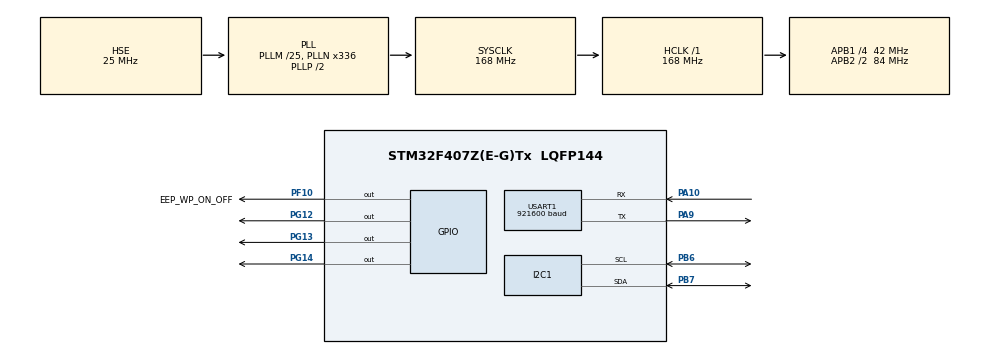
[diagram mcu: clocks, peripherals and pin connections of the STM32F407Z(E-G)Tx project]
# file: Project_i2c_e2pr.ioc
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Mcu.Family=STM32F4
Mcu.Name=STM32F407Z(E-G)Tx
Mcu.Package=LQFP144
NVIC.PriorityGroup=NVIC_PRIORITYGROUP_4
PA10.Mode=Asynchronous
PA10.Signal=USART1_RX
PA9.Mode=Asynchronous
PA9.Signal=USART1_TX
PB6.Mode=I2C
PB6.Signal=I2C1_SCL
PB7.Mode=I2C
PB7.Signal=I2C1_SDA
PF10.GPIO_Label=EEP_WP_ON_OFF
PF10.Signal=GPIO_Output
PG12.Signal=GPIO_Output
PG13.Signal=GPIO_Output
PG14.Signal=GPIO_Output
PH0-OSC_IN.Mode=HSE-External-Clock-Source
PH0-OSC_IN.Signal=RCC_OSC_IN
PH1-OSC_OUT.Mode=HSE-External-Clock-Source
PH1-OSC_OUT.Signal=RCC_OSC_OUT
ProjectManager.HeapSize=0x200
ProjectManager.StackSize=0x400
ProjectManager.TargetToolchain=EWARM V8.50
RCC.48MHZClocksFreq_Value=84000000
RCC.AHBFreq_Value=168000000
RCC.APB1CLKDivider=RCC_HCLK_DIV4
RCC.APB1Freq_Value=42000000
RCC.APB1TimFreq_Value=84000000
RCC.APB2CLKDivider=RCC_HCLK_DIV2
RCC.APB2Freq_Value=84000000
RCC.APB2TimFreq_Value=168000000
RCC.CortexFreq_Value=168000000
RCC.HCLKFreq_Value=168000000
RCC.HSE_VALUE=25000000
RCC.HSI_VALUE=16000000
RCC.LSE_VALUE=32768
RCC.PLLM=25
RCC.PLLN=336
RCC.PLLSourceVirtual=RCC_PLLSOURCE_HSE
RCC.SYSCLKFreq_VALUE=168000000
RCC.SYSCLKSource=RCC_SYSCLKSOURCE_PLLCLK
RCC.VCOOutputFreq_Value=336000000
USART1.BaudRate=921600
USART1.VirtualMode=VM_ASYNC
board=custom

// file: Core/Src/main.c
/* USER CODE BEGIN Header */
/**
  ******************************************************************************
  * @file           : main.c
  * @brief          : Main program body
  ******************************************************************************
  * @attention
  *
  * Copyright (c) 2024 STMicroelectronics.
  * All rights reserved.
  *
  * This software is licensed under terms that can be found in the LICENSE file
  * in the root directory of this software component.
  * If no LICENSE file comes with this software, it is provided AS-IS.
  *
  ******************************************************************************
  */
/* USER CODE END Header */
#include "main.h"

/* USER CODE BEGIN Includes */

#include <stdio.h>
#include <stdbool.h>
#include "_AT24C32.h"
/* USER CODE END Includes */

/* USER CODE BEGIN PM */
#define MEM_ADDR    0x0000u
/* USER CODE END PM */

I2C_HandleTypeDef hi2c1;

UART_HandleTypeDef huart1;

/* USER CODE BEGIN PV */
uint8_t wData[] = "Hello World 123";
uint8_t rData[4096];

bool writeStatus = false;

int fputc(int ch, FILE *f)
{
    /* Place your implementation of fputc here */
    /* e.g. write a character to the EVAL_COM1 and Loop until the end of transmission */
    if( ch == '\n' ){
        ch = '\r';
        HAL_UART_Transmit( &huart1, (uint8_t *)&ch, 1, 0xFFFF );
        ch = '\n';
    }

    HAL_UART_Transmit( &huart1, (uint8_t *)&ch, 1, 0xFFFF );

    return ch;
}

/* USER CODE END PV */

void SystemClock_Config(void);
static void MX_GPIO_Init(void);
static void MX_I2C1_Init(void);
static void MX_USART1_UART_Init(void);

int main(void)
{

  /* MCU Configuration--------------------------------------------------------*/

  /* Reset of all peripherals, Initializes the Flash interface and the Systick. */
  HAL_Init();

  /* Configure the system clock */
  SystemClock_Config();

  /* Initialize all configured peripherals */
  MX_GPIO_Init();
  MX_I2C1_Init();
  MX_USART1_UART_Init();
  /* USER CODE BEGIN 2 */

#ifdef _TEST_CODE_
  printf("******************************\r\n\r\n");
  printf("USART DBG TEST!\r\n\r\n");
  printf("******************************\r\n\r\n");
#endif

  //writeStatus = at24_write(&hi2c1,MEM_ADDR, wData, 15, 100);
  writeStatus = at24_eraseChip(&hi2c1);

  if (writeStatus) printf("wTrue\r\n");
  else             printf("wfalse\r\n");

  for (uint8_t i = 0; i < 10; i++)
  {
    if( at24_read(&hi2c1, MEM_ADDR, (rData+i), 1, 100) )
      printf("e2p read: %x\r\n", rData[i]);
  }
  /* USER CODE END 2 */

  /* Infinite loop */
  /* USER CODE BEGIN WHILE */
  while (1)
  {
#ifdef _TEST_CODE_
    HAL_GPIO_TogglePin(GPIOG, GPIO_PIN_12);
    HAL_GPIO_TogglePin(GPIOG, GPIO_PIN_13);
    HAL_GPIO_TogglePin(GPIOG, GPIO_PIN_14);
    HAL_Delay(100);
#endif

    //if( at24_read(&hi2c1, MEM_ADDR, rData, 15, 100) )
    //  printf("e2p read: %s\r\n", rData);

    /* USER CODE END WHILE */

  }
}

void SystemClock_Config(void)
{
  RCC_OscInitTypeDef RCC_OscInitStruct = {0};
  RCC_ClkInitTypeDef RCC_ClkInitStruct = {0};

  /** Configure the main internal regulator output voltage
  */
  __HAL_RCC_PWR_CLK_ENABLE();
  __HAL_PWR_VOLTAGESCALING_CONFIG(PWR_REGULATOR_VOLTAGE_SCALE1);

  /** Initializes the RCC Oscillators according to the specified parameters
  * in the RCC_OscInitTypeDef structure.
  */
  RCC_OscInitStruct.OscillatorType = RCC_OSCILLATORTYPE_HSE;
  RCC_OscInitStruct.HSEState = RCC_HSE_BYPASS;
  RCC_OscInitStruct.PLL.PLLState = RCC_PLL_ON;
  RCC_OscInitStruct.PLL.PLLSource = RCC_PLLSOURCE_HSE;
  RCC_OscInitStruct.PLL.PLLM = 25;
  RCC_OscInitStruct.PLL.PLLN = 336;
  RCC_OscInitStruct.PLL.PLLP = RCC_PLLP_DIV2;
  RCC_OscInitStruct.PLL.PLLQ = 4;
  if (HAL_RCC_OscConfig(&RCC_OscInitStruct) != HAL_OK)
  {
    Error_Handler();
  }

  /** Initializes the CPU, AHB and APB buses clocks
  */
  RCC_ClkInitStruct.ClockType = RCC_CLOCKTYPE_HCLK|RCC_CLOCKTYPE_SYSCLK
                              |RCC_CLOCKTYPE_PCLK1|RCC_CLOCKTYPE_PCLK2;
  RCC_ClkInitStruct.SYSCLKSource = RCC_SYSCLKSOURCE_PLLCLK;
  RCC_ClkInitStruct.AHBCLKDivider = RCC_SYSCLK_DIV1;
  RCC_ClkInitStruct.APB1CLKDivider = RCC_HCLK_DIV4;
  RCC_ClkInitStruct.APB2CLKDivider = RCC_HCLK_DIV2;

  if (HAL_RCC_ClockConfig(&RCC_ClkInitStruct, FLASH_LATENCY_5) != HAL_OK)
  {
    Error_Handler();
  }
}

static void MX_I2C1_Init(void)
{

  hi2c1.Instance = I2C1;
  hi2c1.Init.ClockSpeed = 100000;
  hi2c1.Init.DutyCycle = I2C_DUTYCYCLE_2;
  hi2c1.Init.OwnAddress1 = 0;
  hi2c1.Init.AddressingMode = I2C_ADDRESSINGMODE_7BIT;
  hi2c1.Init.DualAddressMode = I2C_DUALADDRESS_DISABLE;
  hi2c1.Init.OwnAddress2 = 0;
  hi2c1.Init.GeneralCallMode = I2C_GENERALCALL_DISABLE;
  hi2c1.Init.NoStretchMode = I2C_NOSTRETCH_DISABLE;
  if (HAL_I2C_Init(&hi2c1) != HAL_OK)
  {
    Error_Handler();
  }

}

static void MX_USART1_UART_Init(void)
{

  huart1.Instance = USART1;
  huart1.Init.BaudRate = 921600;
  huart1.Init.WordLength = UART_WORDLENGTH_8B;
  huart1.Init.StopBits = UART_STOPBITS_1;
  huart1.Init.Parity = UART_PARITY_NONE;
  huart1.Init.Mode = UART_MODE_TX_RX;
  huart1.Init.HwFlowCtl = UART_HWCONTROL_NONE;
  huart1.Init.OverSampling = UART_OVERSAMPLING_16;
  if (HAL_UART_Init(&huart1) != HAL_OK)
  {
    Error_Handler();
  }

}

static void MX_GPIO_Init(void)
{
  GPIO_InitTypeDef GPIO_InitStruct = {0};

  /* GPIO Ports Clock Enable */
  __HAL_RCC_GPIOF_CLK_ENABLE();
  __HAL_RCC_GPIOH_CLK_ENABLE();
  __HAL_RCC_GPIOA_CLK_ENABLE();
  __HAL_RCC_GPIOG_CLK_ENABLE();
  __HAL_RCC_GPIOB_CLK_ENABLE();

  /*Configure GPIO pin Output Level */
  HAL_GPIO_WritePin(EEP_WP_ON_OFF_GPIO_Port, EEP_WP_ON_OFF_Pin, GPIO_PIN_RESET);

  /*Configure GPIO pin Output Level */
  HAL_GPIO_WritePin(GPIOG, GPIO_PIN_12|GPIO_PIN_13|GPIO_PIN_14, GPIO_PIN_RESET);

  /*Configure GPIO pin : EEP_WP_ON_OFF_Pin */
  GPIO_InitStruct.Pin = EEP_WP_ON_OFF_Pin;
  GPIO_InitStruct.Mode = GPIO_MODE_OUTPUT_PP;
  GPIO_InitStruct.Pull = GPIO_NOPULL;
  GPIO_InitStruct.Speed = GPIO_SPEED_FREQ_LOW;
  HAL_GPIO_Init(EEP_WP_ON_OFF_GPIO_Port, &GPIO_InitStruct);

  /*Configure GPIO pins : PG12 PG13 PG14 */
  GPIO_InitStruct.Pin = GPIO_PIN_12|GPIO_PIN_13|GPIO_PIN_14;
  GPIO_InitStruct.Mode = GPIO_MODE_OUTPUT_PP;
  GPIO_InitStruct.Pull = GPIO_NOPULL;
  GPIO_InitStruct.Speed = GPIO_SPEED_FREQ_LOW;
  HAL_GPIO_Init(GPIOG, &GPIO_InitStruct);

}

void Error_Handler(void)
{
  __disable_irq();
  while (1)
  {
  }
}
